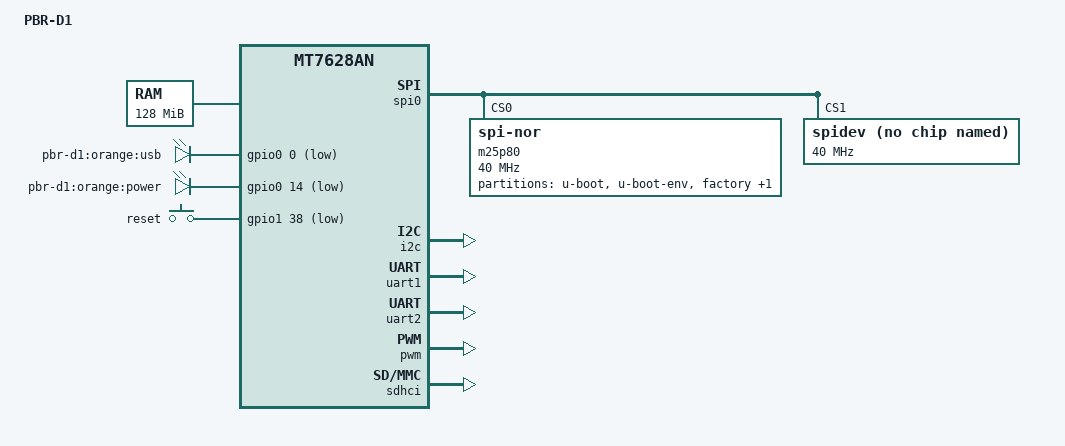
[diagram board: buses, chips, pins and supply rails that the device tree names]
/dts-v1/;

#include "mt7628an.dtsi"

#include <dt-bindings/gpio/gpio.h>
#include <dt-bindings/input/input.h>

/ {
	compatible = "d-team,pbr-d1", "mediatek,mt7628an-soc";
	model = "PBR-D1";

	aliases {
		led-status = &led_power;
	};

	chosen {
		bootargs = "console=ttyS0,115200";
	};

	aliases {
		serial0 = &uart2;
	};

	memory@0 {
		device_type = "memory";
		reg = <0x0 0x8000000>;
	};

	gpio-leds {
		compatible = "gpio-leds";

		usb {
			label = "pbr-d1:orange:usb";
			gpios = <&gpio0 0 GPIO_ACTIVE_LOW>;
			default-state = "off";
		};

		led_power: power {
			label = "pbr-d1:orange:power";
			gpios = <&gpio0 14 GPIO_ACTIVE_LOW>;
			default-state = "on";
		};
	};

	gpio-keys-polled {
		compatible = "gpio-keys-polled";
		poll-interval = <20>;

		reset {
			label = "reset";
			gpios = <&gpio1 38 GPIO_ACTIVE_LOW>;
			linux,code = <KEY_RESTART>;
		};
	};

	wgpio: gpio-wifi {
		compatible = "mediatek,gpio-wifi";
		#address-cells = <1>;
		#size-cells = <0>;
		gpio-controller;
		#gpio-cells = <2>;
	};
};

&pinctrl {
	state_default: pinctrl0 {
		gpio {
			ralink,group = "gpio";
			ralink,function = "gpio";
		};

		i2c {
			ralink,group = "i2c";
			ralink,function = "gpio";
		};

		i2s {
			ralink,group = "i2s";
			ralink,function = "gpio";
		};

		spis {
			ralink,group = "spis";
			ralink,function = "gpio";
		};

		wdt {
			ralink,group = "wdt";
			ralink,function = "gpio";
		};
	};
};

&spi0 {
	status = "okay";

	pinctrl-names = "default";
	pinctrl-0 = <&spi_pins>, <&spi_cs1_pins>;

	m25p80@0 {
		compatible = "jedec,spi-nor";
		reg = <0>;
		spi-max-frequency = <40000000>;
		m25p,chunked-io = <31>;

		partitions {
			compatible = "fixed-partitions";
			#address-cells = <1>;
			#size-cells = <1>;

			partition@0 {
				label = "u-boot";
				reg = <0x0 0x30000>;
				read-only;
			};

			partition@30000 {
				label = "u-boot-env";
				reg = <0x30000 0x10000>;
			};

			factory: partition@40000 {
				label = "factory";
				reg = <0x40000 0x10000>;
				read-only;
			};

			partition@50000 {
				label = "firmware";
				reg = <0x50000 0x0fb0000>;
			};
		};
	};

	spidev@1 {
		#address-cells = <1>;
		#size-cells = <1>;
		compatible = "linux,spidev";
		reg = <1>;
		spi-max-frequency = <40000000>;
	};
};

&i2c {
	status = "okay";
};

&uart1 {
	status = "okay";
};

&uart2 {
	status = "okay";
};

&pwm {
	status = "okay";
};

&ethernet {
	mtd-mac-address = <&factory 0x28>;
};

&sdhci {
	status = "okay";
	mediatek,cd-high;
};
